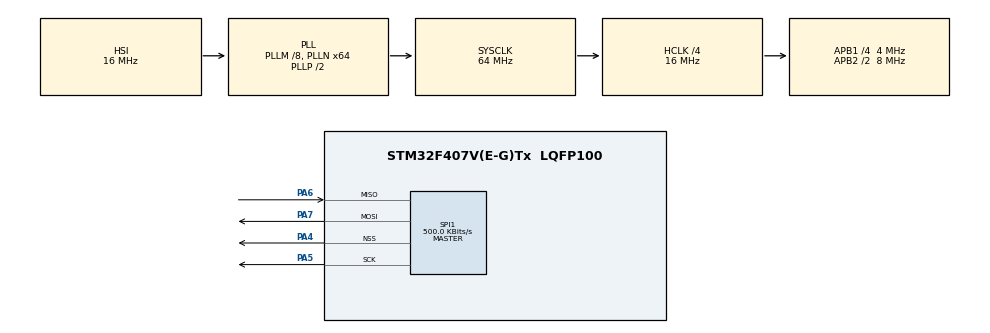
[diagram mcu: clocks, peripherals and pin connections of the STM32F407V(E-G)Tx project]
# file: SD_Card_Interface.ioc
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Mcu.Family=STM32F4
Mcu.Name=STM32F407V(E-G)Tx
Mcu.Package=LQFP100
NVIC.PriorityGroup=NVIC_PRIORITYGROUP_0
PA13.Mode=Serial_Wire
PA13.Signal=SYS_JTMS-SWDIO
PA14.Mode=Serial_Wire
PA14.Signal=SYS_JTCK-SWCLK
PA4.Mode=NSS_Signal_Hard_Output
PA4.Signal=SPI1_NSS
PA5.Mode=Full_Duplex_Master
PA5.Signal=SPI1_SCK
PA6.Mode=Full_Duplex_Master
PA6.Signal=SPI1_MISO
PA7.Mode=Full_Duplex_Master
PA7.Signal=SPI1_MOSI
ProjectManager.HeapSize=0x200
ProjectManager.StackSize=0x400
ProjectManager.TargetToolchain=STM32CubeIDE
RCC.48MHZClocksFreq_Value=18285714.285714287
RCC.AHBCLKDivider=RCC_SYSCLK_DIV4
RCC.AHBFreq_Value=16000000
RCC.APB1CLKDivider=RCC_HCLK_DIV4
RCC.APB1Freq_Value=4000000
RCC.APB1TimFreq_Value=8000000
RCC.APB2CLKDivider=RCC_HCLK_DIV2
RCC.APB2Freq_Value=8000000
RCC.APB2TimFreq_Value=16000000
RCC.CortexFreq_Value=16000000
RCC.HCLKFreq_Value=16000000
RCC.HSE_VALUE=8000000
RCC.HSI_VALUE=16000000
RCC.LSE_VALUE=32768
RCC.PLLM=8
RCC.PLLN=64
RCC.PLLQ=7
RCC.SYSCLKFreq_VALUE=64000000
RCC.SYSCLKSource=RCC_SYSCLKSOURCE_PLLCLK
RCC.VCOOutputFreq_Value=128000000
SPI1.BaudRatePrescaler=SPI_BAUDRATEPRESCALER_16
SPI1.CalculateBaudRate=500.0 KBits/s
SPI1.Direction=SPI_DIRECTION_2LINES
SPI1.Mode=SPI_MODE_MASTER
SPI1.VirtualNSS=VM_NSSHARD
SPI1.VirtualType=VM_MASTER
board=STM32F407G-DISC1

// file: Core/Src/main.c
/* USER CODE BEGIN Header */
/**
  ******************************************************************************
  * @file           : main.c
  * @brief          : Main program body
  ******************************************************************************
  * @attention
  *
  * Copyright (c) 2024 STMicroelectronics.
  * All rights reserved.
  *
  * This software is licensed under terms that can be found in the LICENSE file
  * in the root directory of this software component.
  * If no LICENSE file comes with this software, it is provided AS-IS.
  *
  ******************************************************************************
  */
/* USER CODE END Header */
#include "main.h"

/* USER CODE BEGIN Includes */
#include <stdio.h>
/* USER CODE END Includes */

/* USER CODE BEGIN PD */
// Define SD Card commands
#define CMD0        0
#define CMD0_ARG    0x00000000
#define CMD0_CRC    0x94
// Define SPI chip select control for SD card (assuming NSS is on PA4)
#define CS_DISABLE() HAL_GPIO_WritePin(GPIOA, GPIO_PIN_4, GPIO_PIN_RESET)
#define CS_ENABLE() HAL_GPIO_WritePin(GPIOA, GPIO_PIN_4, GPIO_PIN_SET)
/* USER CODE END PD */

SPI_HandleTypeDef hspi1;

void SystemClock_Config(void);
static void MX_GPIO_Init(void);
static void MX_SPI1_Init(void);
/* USER CODE BEGIN PFP */
uint8_t SD_Check_CMD0(void);
void SD_SendCommand(uint8_t cmd, uint32_t arg, uint8_t crc);
uint8_t SD_ReceiveResponse(void);
void SD_SendDummyClock(void);
uint8_t SD_WaitReady(void);
uint8_t SD_Check_CMD8(void);

/* USER CODE END PFP */

/* USER CODE BEGIN 0 */

void SD_powerUpSeq()
{
    // make sure card is deselected
	CS_DISABLE();

    // give SD card time to power up
    HAL_Delay(1);

    // send 80 clock cycles to synchronize
    for(uint8_t i = 0; i < 10; i++)
        //SPI_transfer(0xFF);
    	HAL_SPI_Transmit(&hspi1, (uint8_t *)0xFF, 1, HAL_MAX_DELAY);

    // deselect SD card
    CS_DISABLE();
    //SPI_transfer(0xFF);
	HAL_SPI_Transmit(&hspi1, (uint8_t *)0xFF, 1, HAL_MAX_DELAY);

}

/*void SD_command(uint8_t cmd, uint32_t arg, uint8_t crc)
{
    // transmit command to sd card
    SPI_transfer(cmd|0x40);

    // transmit argument
    SPI_transfer((uint8_t)(arg >> 24));
    SPI_transfer((uint8_t)(arg >> 16));
    SPI_transfer((uint8_t)(arg >> 8));
    SPI_transfer((uint8_t)(arg));

    // transmit crc
    SPI_transfer(crc|0x01);
}*/

void SD_command(uint8_t cmd, uint32_t arg, uint8_t crc) {
    uint8_t cmdFrame[6];

    // Prepare the command frame
    cmdFrame[0] = cmd | 0x40;                // Command byte (CMD + 0x40)
    cmdFrame[1] = (uint8_t)(arg >> 24);      // Argument byte 1
    cmdFrame[2] = (uint8_t)(arg >> 16);      // Argument byte 2
    cmdFrame[3] = (uint8_t)(arg >> 8);       // Argument byte 3
    cmdFrame[4] = (uint8_t)(arg);            // Argument byte 4
    cmdFrame[5] = crc | 0x01;                // CRC byte (always ending with 0x01)

    // Send the command frame via SPI
    HAL_SPI_Transmit(&hspi1, cmdFrame, 6, HAL_MAX_DELAY);
    printf("Sent CMD: %d, Arg: 0x%08X, CRC: 0x%02X\n", cmd, arg, crc);

}

/*
uint8_t SD_readRes1()
{
    uint8_t i = 0, res1;
    // keep polling until actual data received
    while((res1 = SPI_transfer(0xFF)) == 0xFF)
    {
        i++;

        // if no data received for 8 bytes, break
        if(i > 8) break;
    }

    return res1;
}
*/

uint8_t SD_readRes1() {
    uint8_t i = 0, res1;
    uint8_t dummyByte = 0xFF;

    // keep polling until actual data is received
    do {
        HAL_SPI_TransmitReceive(&hspi1, &dummyByte, &res1, 1, HAL_MAX_DELAY);
        i++;
    } while (res1 == 0xFF && i <= 8);  // If no response for 8 iterations, break the loop

    printf("Response received: 0x%02X after %d attempts\n", res1, i);
    return res1;
}

uint8_t SD_goIdleState()
{
    // assert chip select
	HAL_SPI_Transmit(&hspi1, (uint8_t *)0xFF, 1, HAL_MAX_DELAY);
    //SPI_transfer(0xFF);

	CS_ENABLE();
	HAL_SPI_Transmit(&hspi1, (uint8_t *)0xFF, 1, HAL_MAX_DELAY);
    //SPI_transfer(0xFF);

    // send CMD0
    SD_command(CMD0, CMD0_ARG, CMD0_CRC);

    // read response
    uint8_t res1 = SD_readRes1();

    // deassert chip select
    //SPI_transfer(0xFF);
	HAL_SPI_Transmit(&hspi1, (uint8_t *)0xFF, 1, HAL_MAX_DELAY);
    CS_DISABLE();
    //SPI_transfer(0xFF);
	HAL_SPI_Transmit(&hspi1, (uint8_t *)0xFF, 1, HAL_MAX_DELAY);

    return res1;
}
/* USER CODE END 0 */

int main(void)
{

  /* MCU Configuration--------------------------------------------------------*/
  HAL_Init();
  SystemClock_Config();
  MX_GPIO_Init();
  MX_SPI1_Init();

  /* USER CODE BEGIN 2 */
  // start power up sequence

     // command card to idle

  /* USER CODE END 2 */

  /* Infinite loop */
  while (1)
  {
    /* USER CODE BEGIN WHILE */
	  SD_powerUpSeq();

	     uint8_t response = SD_goIdleState();
	       printf("CMD0 Response: 0x%02X\n", response);

HAL_Delay(2000);
    /* USER CODE END WHILE */
  }
}

void SystemClock_Config(void)
{
  RCC_OscInitTypeDef RCC_OscInitStruct = {0};
  RCC_ClkInitTypeDef RCC_ClkInitStruct = {0};

  __HAL_RCC_PWR_CLK_ENABLE();
  __HAL_PWR_VOLTAGESCALING_CONFIG(PWR_REGULATOR_VOLTAGE_SCALE1);

  RCC_OscInitStruct.OscillatorType = RCC_OSCILLATORTYPE_HSI;
  RCC_OscInitStruct.HSIState = RCC_HSI_ON;
  RCC_OscInitStruct.PLL.PLLState = RCC_PLL_ON;
  RCC_OscInitStruct.PLL.PLLSource = RCC_PLLSOURCE_HSI;
  RCC_OscInitStruct.PLL.PLLM = 8;
  RCC_OscInitStruct.PLL.PLLN = 64;
  RCC_OscInitStruct.PLL.PLLP = RCC_PLLP_DIV2;
  RCC_OscInitStruct.PLL.PLLQ = 7;
  if (HAL_RCC_OscConfig(&RCC_OscInitStruct) != HAL_OK)
  {
    Error_Handler();
  }

  RCC_ClkInitStruct.ClockType = RCC_CLOCKTYPE_HCLK|RCC_CLOCKTYPE_SYSCLK
                              |RCC_CLOCKTYPE_PCLK1|RCC_CLOCKTYPE_PCLK2;
  RCC_ClkInitStruct.SYSCLKSource = RCC_SYSCLKSOURCE_PLLCLK;
  RCC_ClkInitStruct.AHBCLKDivider = RCC_SYSCLK_DIV4;
  RCC_ClkInitStruct.APB1CLKDivider = RCC_HCLK_DIV4;
  RCC_ClkInitStruct.APB2CLKDivider = RCC_HCLK_DIV2;

  if (HAL_RCC_ClockConfig(&RCC_ClkInitStruct, FLASH_LATENCY_0) != HAL_OK)
  {
    Error_Handler();
  }
}

static void MX_SPI1_Init(void)
{
  hspi1.Instance = SPI1;
  hspi1.Init.Mode = SPI_MODE_MASTER;
  hspi1.Init.Direction = SPI_DIRECTION_2LINES;
  hspi1.Init.DataSize = SPI_DATASIZE_8BIT;
  hspi1.Init.CLKPolarity = SPI_POLARITY_LOW;
  hspi1.Init.CLKPhase = SPI_PHASE_1EDGE;
  hspi1.Init.NSS = SPI_NSS_HARD_OUTPUT;
  hspi1.Init.BaudRatePrescaler = SPI_BAUDRATEPRESCALER_32;
  hspi1.Init.FirstBit = SPI_FIRSTBIT_MSB;
  hspi1.Init.TIMode = SPI_TIMODE_DISABLE;
  hspi1.Init.CRCCalculation = SPI_CRCCALCULATION_DISABLE;
  hspi1.Init.CRCPolynomial = 10;
  if (HAL_SPI_Init(&hspi1) != HAL_OK)
  {
    Error_Handler();
  }
}

static void MX_GPIO_Init(void)
{
  __HAL_RCC_GPIOA_CLK_ENABLE();
}

void Error_Handler(void)
{
  __disable_irq();
  while (1)
  {
  }
}
